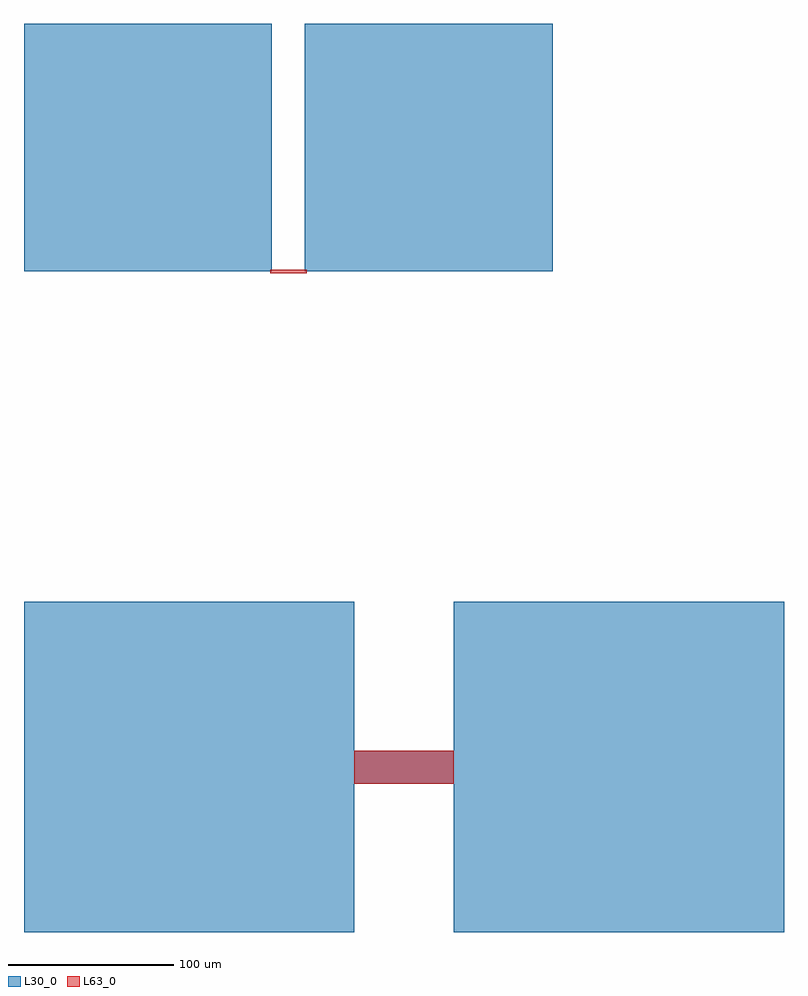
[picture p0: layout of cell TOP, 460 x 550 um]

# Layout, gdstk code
import gdstk
lib = gdstk.Library(unit=1e-6, precision=1e-09)
def R(c, l, rs):  # rectangles x0, y0, x1, y1
    for r in rs: c.add(gdstk.rectangle(r[:2], r[2:], *l))
def P(c, l, *ps):  # polygons
    for p in ps: c.add(gdstk.Polygon(p, *l))
L30_0 = (30, 0)
L63_0 = (63, 0)

top = lib.new_cell('TOP')
R(top, L30_0, [(0,0,200,200), (260,0,460,200), (200,90,260,110), (0,400,150,550), (170,400,320,550)])
R(top, L63_0, [(200,90,260,110)])
P(top, L63_0, [(170,401),(170,401),(170,401),(170,401),(170,401),(170,401),(171,401),(171,401),(171,401),(171,401),(171,401),(171,400),(171,400),(171,400),(171,400),(171,400),(171,400),(171,400),(171,400),(171,400),(171,400),(171,400),(171,399),(171,399),(171,399),(171,399),(171,399),(170,399),(170,399),(170,399),(170,399),(170,399),(170,399),(150,399),(150,399),(150,399),(150,399),(150,399),(150,399),(149,399),(149,399),(149,399),(149,399),(149,399),(149,400),(149,400),(149,400),(149,400),(149,400),(149,400),(149,400),(149,400),(149,400),(149,400),(149,400),(149,401),(149,401),(149,401),(149,401),(149,401),(150,401),(150,401),(150,401),(150,401),(150,401),(150,401)])

lib.write_gds('TOP.gds')
